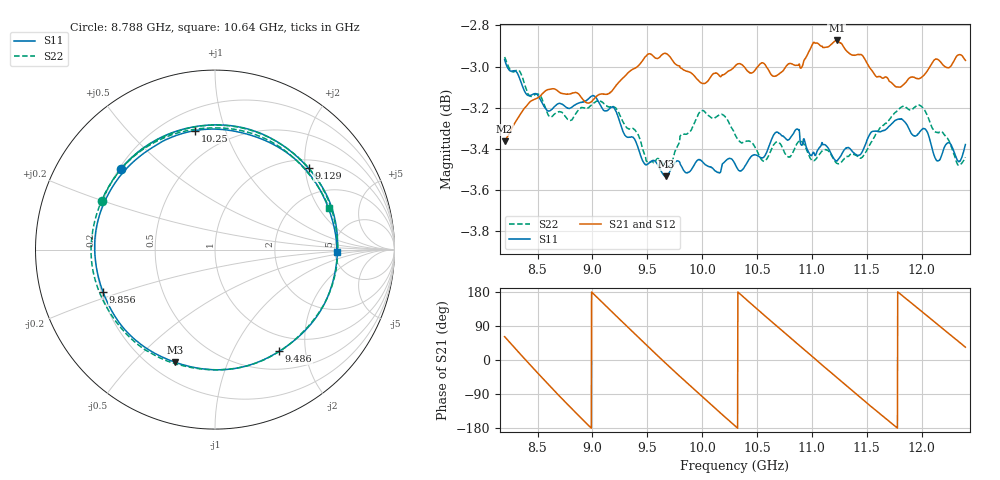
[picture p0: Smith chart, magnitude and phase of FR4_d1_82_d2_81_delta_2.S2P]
!Agilent Technologies,E5071C,MY46631589,B.13.30
!Date: Sun May 30 22:21:31 2021
!Data & Calibration Information:
!Freq	S11:SOLT2(ON)	S21:SOLT2(ON)	S12:SOLT2(ON)	S22:SOLT2(ON)
!PortZ  Port1:50+j0  Port2:50+j0
!Above PortZ is port z conversion or system Z0 setting when saving the data.
!When reading, reference impedance value at option line is always used.
# Hz S MA R 50
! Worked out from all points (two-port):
!   1601 points, 8.2 GHz to 12.4 GHz, reference 50 ohm
!   highest |S21| = -2.87 dB at 11.23 GHz (marker M1); lowest = -3.4 dB at 8.2 GHz (marker M2)
!   |S21| within 3 dB of the highest: start of sweep to end of sweep
!   lowest |S11| = -3.5 dB at 9.673 GHz (marker M3), VSWR 4.98, Z = 14.8 - j33.4 ohm
!   |S11| at or under -10 dB: nowhere
!   |S22| runs from -3.5 to -3.0 dB; largest |S21 - S12| = 0.011
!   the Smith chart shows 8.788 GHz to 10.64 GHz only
!   S11 on the Smith chart (normalised r, x): 8.788 GHz: 0.21, +0.36; 9.129 GHz: 1.21, +2.09; 9.486 GHz: 0.75, -1.54; 9.856 GHz: 0.21, -0.17; 10.25 GHz: 0.33, +0.79; 10.64 GHz: 5.24, -0.22
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8.2e9  0.7108 -35.7  0.679 61.6  0.678 62.1  0.7118 -22.2
8.465125e9  0.6972 -122.5  0.695 -23.0  0.693 -22.8  0.6966 -105.2
8.6305e9  0.6912 -173.6  0.6991 -74.1  0.6968 -73.7  0.6884 -156.0
8.788e9  0.6916 139.4  0.6972 -121.3  0.6952 -120.9  0.687 156.7
8.900875e9  0.6939 106.3  0.6958 -154.5  0.6945 -154.0  0.6919 123.8
9.12925e9  0.6907 41.0  0.6971 140.7  0.6965 141.0  0.6926 59.1
9.30775e9  0.6808 -8.5  0.7047 91.0  0.7047 91.2  0.6844 9.3
9.48625e9  0.6701 -57.8  0.7121 41.4  0.7112 41.7  0.6726 -40.1
9.60175e9  0.6697 -89.6  0.7113 9.6  0.7095 9.9  0.6723 -71.9
9.672625e9  0.6657 -109.3  0.7131 -9.7  0.7106 -9.4  0.6698 -90.9
9.856375e9  0.6671 -159.4  0.7062 -58.9  0.7055 -58.4  0.6817 -139.6
1.004538e10  0.6698 151.1  0.7019 -108.1  0.7014 -107.6  0.6893 171.8
1.025012e10  0.6725 99.4  0.7064 -161.0  0.7042 -160.5  0.6856 118.7
1.03e10  0.6704 86.8  0.7082 -173.8  0.7064 -173.2  0.6816 105.9
1.063862e10  0.6802 -0.9  0.7044 100.0  0.7047 100.6  0.6765 20.2
1.100088e10  0.6737 -92.0  0.7164 10.2  0.7167 10.9  0.6718 -69.0
1.122662e10  0.6716 -148.1  0.7184 -46.0  0.7192 -45.3  0.6707 -124.6
1.144975e10  0.6743 156.8  0.7128 -100.7  0.7122 -100.0  0.6726 -179.1
1.170175e10  0.6846 95.6  0.7025 -161.1  0.7014 -160.5  0.687 121.0
1.1875e10  0.6847 55.3  0.7028 158.2  0.7021 158.9  0.6915 79.8
1.206138e10  0.6816 12.2  0.7068 114.2  0.7056 114.9  0.688 35.6
1.24e10  0.6777 -68.9  0.7104 33.8  0.7079 34.6  0.6729 -44.4
